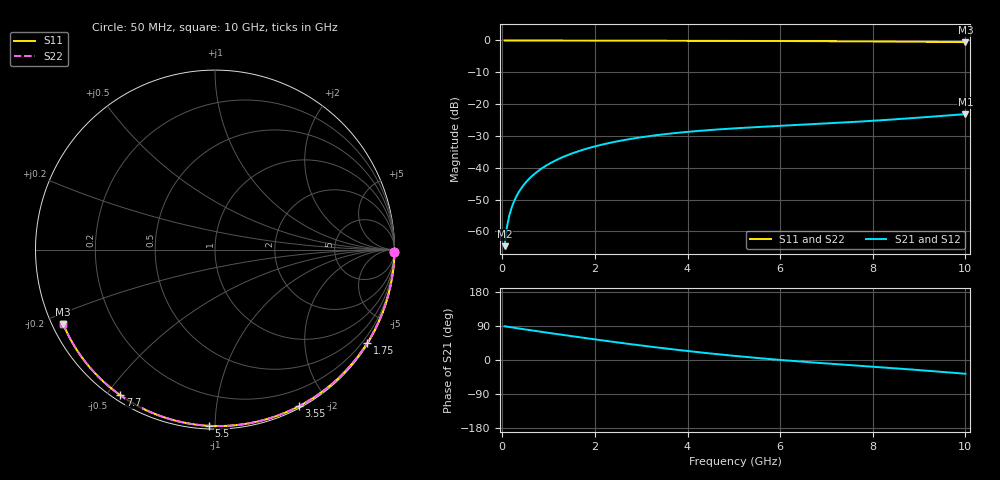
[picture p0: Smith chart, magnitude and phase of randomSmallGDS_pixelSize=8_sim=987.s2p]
! freq	dB(S11)	phase(S11)	dB(S12)	phase(S12)
!  dB(S21)	phase(S21)	dB(S22)	phase(S22)
!S-par simulation data
#  GHz  S  DB  R 50
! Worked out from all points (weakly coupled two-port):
!   200 points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, 50 MHz to 10 GHz, reference 50 ohm
!   highest |S21| = -23.14 dB at 10 GHz (marker M1); lowest = -64.6 dB at 50 MHz (marker M2)
!   lowest |S11| = -0.5 dB at 10 GHz (marker M3), VSWR 33.57, Z = 1.57 - j11.6 ohm
!   |S11| at or under -10 dB: nowhere
!   |S22| runs from -0.5 to 0.0 dB; largest |S21 - S12| = 0
!   S11 on the Smith chart (normalised r, x): 50 MHz: open; 1.75 GHz: 0.03, -3.55; 3.55 GHz: 0.02, -1.67; 5.5 GHz: 0.02, -0.96; 7.7 GHz: 0.02, -0.54; 10 GHz: 0.03, -0.23
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0.05  -0.00 -0.9  -64.61 89.0  -64.61 89.0  -0.00 -0.9
0.1  -0.00 -1.8  -58.60 88.0  -58.60 88.0  -0.00 -1.8
0.15  -0.00 -2.7  -55.08 87.0  -55.08 87.0  -0.00 -2.7
0.2  -0.00 -3.7  -52.59 86.1  -52.59 86.1  -0.00 -3.7
0.25  -0.00 -4.6  -50.67 85.1  -50.67 85.1  -0.00 -4.6
0.35  -0.00 -6.4  -47.77 83.2  -47.77 83.2  -0.00 -6.4
0.5  -0.01 -9.1  -44.71 80.5  -44.71 80.5  -0.01 -9.1
0.7  -0.01 -12.7  -41.85 76.9  -41.85 76.9  -0.01 -12.7
1  -0.02 -18.1  -38.84 71.6  -38.84 71.6  -0.02 -18.1
1.35  -0.03 -24.4  -36.37 65.5  -36.37 65.5  -0.03 -24.4
1.75  -0.04 -31.4  -34.30 58.6  -34.30 58.6  -0.04 -31.4
2.5  -0.06 -44.4  -31.63 46.2  -31.63 46.2  -0.06 -44.4
3.4  -0.08 -59.4  -29.62 32.3  -29.62 32.3  -0.08 -59.5
3.55  -0.09 -61.9  -29.37 30.1  -29.37 30.1  -0.09 -61.9
4.3  -0.11 -73.8  -28.34 19.7  -28.34 19.7  -0.11 -73.9
5.05  -0.14 -85.3  -27.58 10.5  -27.58 10.5  -0.14 -85.4
5.5  -0.15 -92.0  -27.20 5.4  -27.20 5.4  -0.15 -92.1
6.7  -0.22 -109.2  -26.31 -6.4  -26.31 -6.4  -0.22 -109.3
7.7  -0.29 -123.0  -25.50 -15.1  -25.50 -15.1  -0.29 -123.0
8.35  -0.34 -131.8  -24.90 -20.8  -24.90 -20.8  -0.34 -131.8
9.2  -0.42 -143.1  -24.02 -28.5  -24.02 -28.5  -0.42 -143.2
10  -0.52 -153.9  -23.14 -36.4  -23.14 -36.4  -0.52 -153.9
